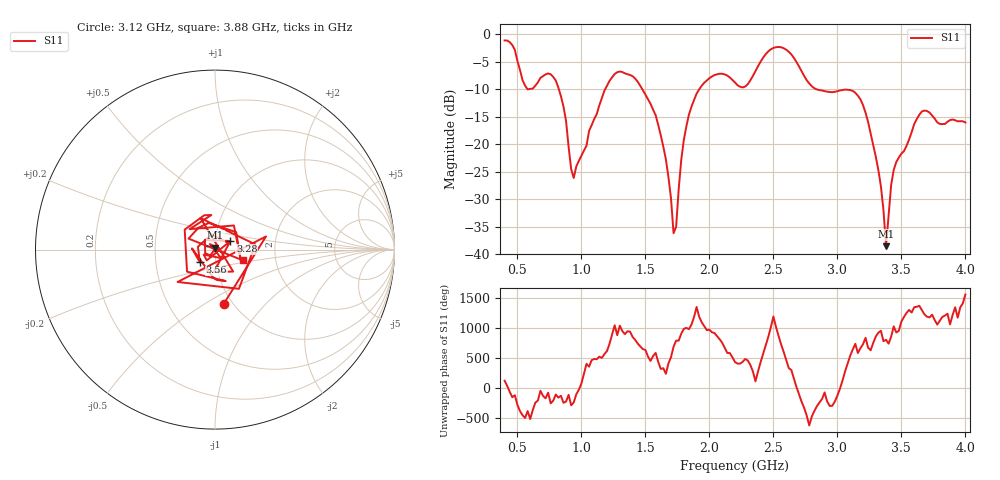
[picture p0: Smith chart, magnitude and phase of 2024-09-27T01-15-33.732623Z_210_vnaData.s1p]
!Created with skrf (http://scikit-rf.org).
# Hz S RI R 50.0
!freq ReS11 ImS11
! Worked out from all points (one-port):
!   181 points, 400 MHz to 4 GHz, reference 50 ohm
!   lowest |S11| = -38.5 dB at 3.38 GHz (marker M1), VSWR 1.02, Z = 50.2 + j1.17 ohm
!   |S11| at or under -10 dB: 823.8 MHz to 1.186 GHz (362.1 MHz wide, 36 % of centre); 1.476 GHz to 1.921 GHz (445.2 MHz wide, 26.2 % of centre); 2.835 GHz to end of sweep (the widest 3 of 4)
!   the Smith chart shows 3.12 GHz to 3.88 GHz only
!   S11 on the Smith chart (normalised r, x): 3.12 GHz: 0.91, -0.61; 3.28 GHz: 1.18, +0.11; 3.56 GHz: 0.84, -0.12; 3.88 GHz: 1.35, -0.17
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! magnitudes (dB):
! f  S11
! 400 MHz  -1.1
! 580 MHz  -10.0
! 760 MHz  -7.3
! 860 MHz  -13.2
! 940 MHz  -26.1
! 1.18 GHz  -10.3
! 1.3 GHz  -6.8
! 1.58 GHz  -14.7
! 1.66 GHz  -22.7
! 1.72 GHz  -36.2
! 1.74 GHz  -35.0
! 1.76 GHz  -28.2
! 1.8 GHz  -19.2
! 1.9 GHz  -10.8
! 2.2 GHz  -8.8
! 2.5 GHz  -2.5
! 2.66 GHz  -4.3
! 2.82 GHz  -9.8
! 3.1 GHz  -10.2
! 3.12 GHz  -10.3
! 3.28 GHz  -20.2
! 3.34 GHz  -27.7
! 3.38 GHz  -38.5
! 3.44 GHz  -24.7
! 3.56 GHz  -19.1
! 3.66 GHz  -14.0
! 3.88 GHz  -15.6
! 4 GHz  -16.1
